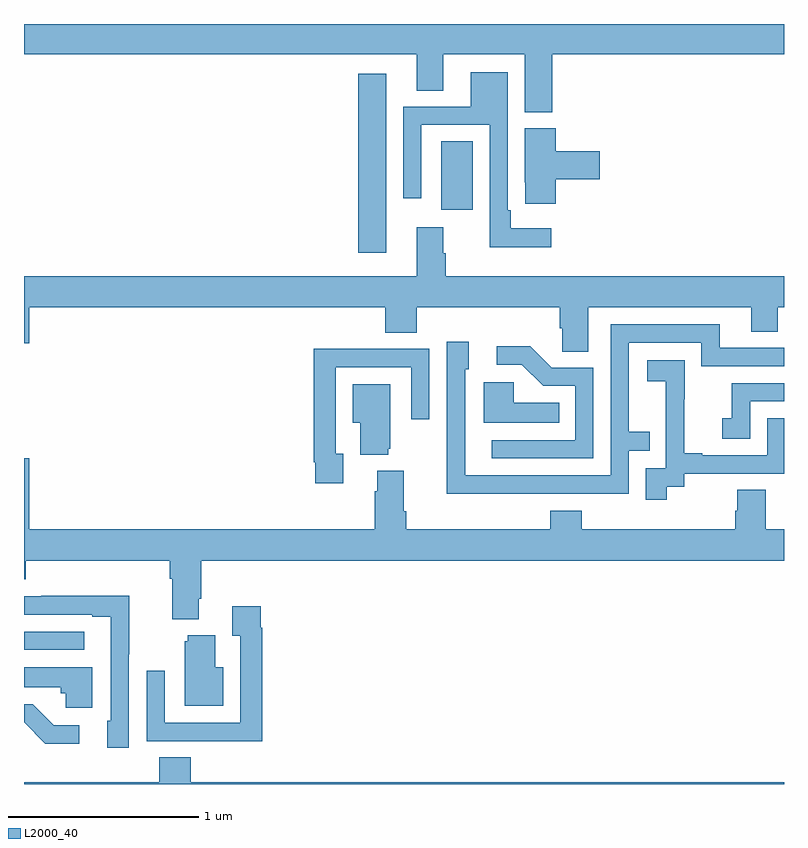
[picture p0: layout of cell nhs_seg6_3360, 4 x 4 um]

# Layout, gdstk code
import gdstk
lib = gdstk.Library(unit=1e-6, precision=1e-09)
def R(c, l, rs):  # rectangles x0, y0, x1, y1
    for r in rs: c.add(gdstk.rectangle(r[:2], r[2:], *l))
def P(c, l, *ps):  # polygons
    for p in ps: c.add(gdstk.Polygon(p, *l))
L2000_40 = (2000, 40)

nhs_seg6_3360 = lib.new_cell('nhs_seg6_3360')
R(nhs_seg6_3360, L2000_40, [(309,940.206,309.316,940.302), (310.76,942.297,310.906,943.237), (311.195,942.522,311.362,942.884)])
P(nhs_seg6_3360, L2000_40, [(311.78,943.34),(313,943.34),(313,943.5),(309,943.5),(309,943.34),(311.066,943.34),(311.066,943.15),(311.206,943.15),(311.206,943.34),(311.636,943.34),(311.636,943.036),(311.78,943.036)],
  [(311.776,942.424),(311.563,942.424),(311.563,942.52),(311.547,942.52),(311.547,943.246),(311.351,943.246),(311.351,943.065),(310.995,943.065),(310.995,942.582),(311.091,942.582),(311.091,942.969),(311.451,942.969),(311.451,942.326),(311.776,942.326)],
  [(311.798,942.683),(312.031,942.683),(312.031,942.83),(311.798,942.83),(311.798,942.951),(311.636,942.951),(311.636,942.667),(311.637,942.667),(311.637,942.555),(311.798,942.555)],
  [(311.971,942.008),(312.827,942.008),(312.827,941.881),(312.966,941.881),(312.966,942.008),(313,942.008),(313,942.172),(311.219,942.172),(311.219,942.293),(311.206,942.293),(311.206,942.43),(311.066,942.43),(311.066,942.172),(309,942.172),(309,941.82),(309.028,941.82),(309.028,942.008),(310.901,942.008),(310.901,941.875),(311.066,941.875),(311.066,942.008),(311.819,942.008),(311.819,941.899),(311.832,941.899),(311.832,941.776),(311.971,941.776)],
  [(311.687,941.028),(312.183,941.028),(312.183,941.253),(312.293,941.253),(312.293,941.354),(312.183,941.354),(312.183,941.823),(312.564,941.823),(312.564,941.7),(313,941.7),(313,941.796),(312.661,941.796),(312.661,941.919),(312.087,941.919),(312.087,941.124),(311.323,941.124),(311.323,941.378),(311.322,941.378),(311.322,941.682),(311.341,941.682),(311.341,941.827),(311.226,941.827),(311.226,941.333),(311.224,941.333),(311.224,941.027),(311.687,941.027)],
  [(311.997,941.691),(311.778,941.691),(311.665,941.804),(311.487,941.804),(311.487,941.706),(311.621,941.706),(311.732,941.595),(311.901,941.595),(311.901,941.31),(311.463,941.31),(311.463,941.214),(311.997,941.214)],
  [(310.681,941.238),(310.641,941.238),(310.641,941.694),(311.037,941.694),(311.037,941.421),(311.133,941.421),(311.133,941.79),(310.817,941.79),(310.817,941.792),(310.525,941.792),(310.525,941.194),(310.533,941.194),(310.533,941.082),(310.681,941.082)],
  [(312.382,941.065),(312.474,941.065),(312.474,941.133),(313,941.133),(313,941.424),(312.912,941.424),(312.912,941.229),(312.571,941.229),(312.571,941.242),(312.476,941.242),(312.476,941.525),(312.477,941.525),(312.477,941.731),(312.279,941.731),(312.279,941.621),(312.377,941.621),(312.377,941.393),(312.378,941.393),(312.378,941.163),(312.273,941.163),(312.273,940.995),(312.382,940.995)],
  [(311.816,941.506),(311.577,941.506),(311.577,941.614),(311.42,941.614),(311.42,941.402),(311.816,941.402)],
  [(312.822,941.514),(313,941.514),(313,941.61),(312.724,941.61),(312.724,941.425),(312.675,941.425),(312.675,941.316),(312.822,941.316)],
  [(310.916,941.265),(310.927,941.265),(310.927,941.605),(310.73,941.605),(310.73,941.402),(310.769,941.402),(310.769,941.234),(310.916,941.234)],
  [(309.919,940.474),(309.932,940.474),(309.932,940.676),(313,940.676),(313,940.84),(312.903,940.84),(312.903,941.048),(312.755,941.048),(312.755,940.938),(312.743,940.938),(312.743,940.84),(311.936,940.84),(311.936,940.939),(311.771,940.939),(311.771,940.84),(311.012,940.84),(311.012,940.936),(310.999,940.936),(310.999,941.149),(310.859,941.149),(310.859,941.042),(310.847,941.042),(310.847,940.84),(309.028,940.84),(309.028,941.215),(309,941.215),(309,940.577),(309.008,940.577),(309.008,940.676),(309.767,940.676),(309.767,940.58),(309.779,940.58),(309.779,940.367),(309.919,940.367)],
  [(309.552,940.183),(309.555,940.183),(309.555,940.49),(309.091,940.49),(309.091,940.488),(309,940.488),(309,940.392),(309.359,940.392),(309.359,940.38),(309.456,940.38),(309.456,939.834),(309.437,939.834),(309.437,939.69),(309.552,939.69)],
  [(310.253,940.322),(310.246,940.322),(310.246,940.435),(310.097,940.435),(310.097,940.279),(310.137,940.279),(310.137,939.822),(309.741,939.822),(309.741,940.096),(309.645,940.096),(309.645,939.726),(309.961,939.726),(309.961,939.725),(310.253,939.725)],
  [(310.048,940.114),(310.006,940.114),(310.006,940.282),(309.863,940.282),(309.863,940.251),(309.845,940.251),(309.845,939.911),(310.048,939.911)],
  [(309.358,940.114),(309,940.114),(309,940.01),(309.193,940.01),(309.193,939.978),(309.219,939.978),(309.219,939.902),(309.358,939.902)],
  [(309.292,939.81),(309.157,939.81),(309.046,939.921),(309,939.921),(309,939.825),(309.113,939.713),(309.292,939.713)],
  [(313,939.508),(309.878,939.508),(309.878,939.641),(309.713,939.641),(309.713,939.508),(309,939.508),(309,939.5),(313,939.5)])

lib.write_gds('nhs_seg6_3360.gds')
